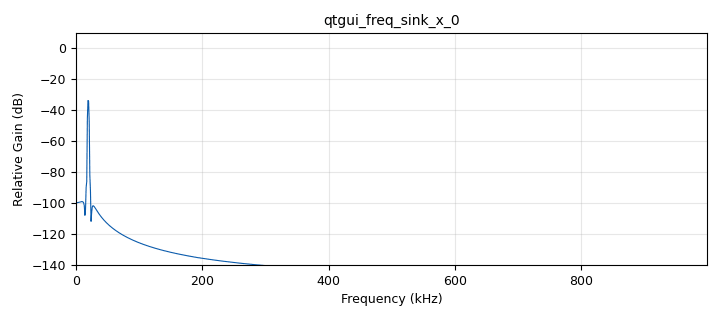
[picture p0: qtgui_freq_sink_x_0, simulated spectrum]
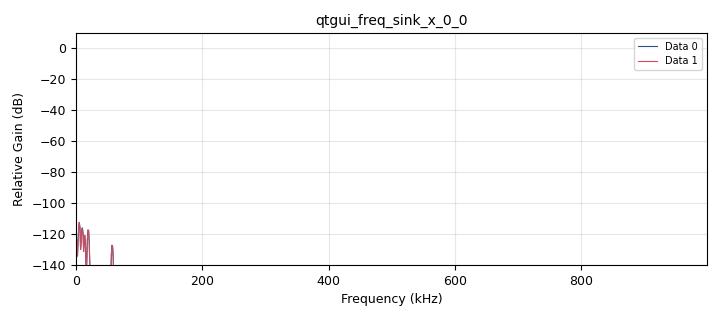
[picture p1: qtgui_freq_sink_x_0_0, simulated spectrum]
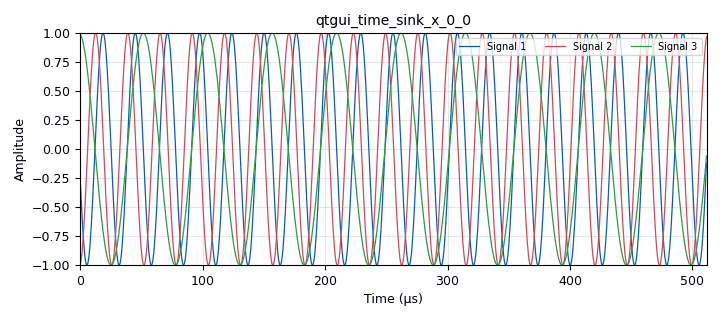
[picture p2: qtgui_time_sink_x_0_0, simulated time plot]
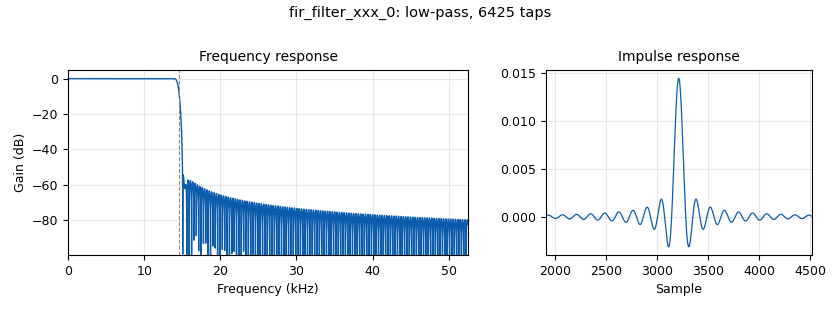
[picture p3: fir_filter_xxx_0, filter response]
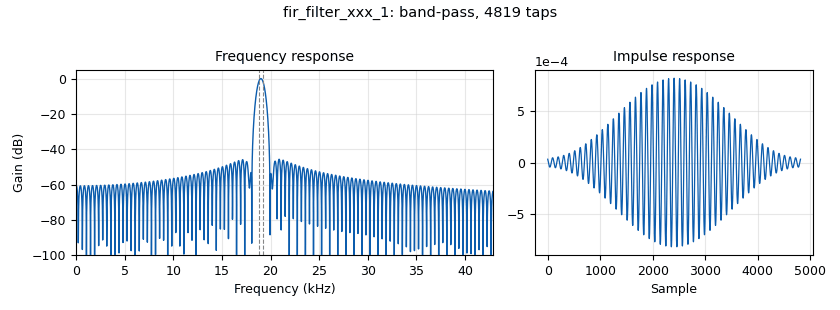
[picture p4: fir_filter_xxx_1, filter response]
options:
  parameters:
    author: Bauti
    generate_options: qt_gui
    id: default
    output_language: python
    title: Not titled yet
  states: {}

blocks:
- name: L_amp
  id: variable_qtgui_range
  parameters:
    start: '0'
    step: '0.01'
    stop: '1'
    value: '0'
  states: {}
- name: frec_L
  id: variable_qtgui_range
  parameters:
    start: '0'
    step: '1'
    stop: 20e3
    value: '50'
  states: {}
- name: samp_rate
  id: variable
  parameters:
    value: 2e6
  states: {}
- name: variable_band_pass_filter_taps_0
  id: variable_band_pass_filter_taps
  parameters:
    gain: '1.0'
    high_cutoff_freq: 19.2e3
    low_cutoff_freq: 18.8e3
    samp_rate: samp_rate
    type: band_pass
    width: 1e3
    win: window.WIN_HAMMING
  states: {}
- name: variable_low_pass_filter_taps_0
  id: variable_low_pass_filter_taps
  parameters:
    cutoff_freq: '14500'
    gain: '1.0'
    samp_rate: samp_rate
    width: '750'
    win: window.WIN_HAMMING
  states: {}
- name: analog_const_source_x_0
  id: analog_const_source_x
  parameters:
    const: '0'
    type: float
  states: {}
- name: analog_pll_refout_cc_0
  id: analog_pll_refout_cc
  parameters:
    max_freq: 2 *np.pi* 19200 / samp_rate
    min_freq: 2 * np.pi* 18800 / samp_rate
    w: '0.0001'
  states: {}
- name: analog_sig_source_x_0
  id: analog_sig_source_x
  parameters:
    amp: L_amp
    comment: L
    freq: frec_L
    offset: '0'
    phase: '0'
    samp_rate: samp_rate
    type: float
    waveform: analog.GR_COS_WAVE
  states: {}
- name: analog_sig_source_x_1
  id: analog_sig_source_x
  parameters:
    amp: L_amp
    comment: R
    freq: '1000'
    offset: '0'
    phase: '0'
    samp_rate: samp_rate
    type: float
    waveform: analog.GR_COS_WAVE
  states: {}
- name: analog_sig_source_x_2
  id: analog_sig_source_x
  parameters:
    amp: '1'
    comment: Pilot
    freq: 19e3
    offset: '0'
    phase: '0'
    samp_rate: samp_rate
    type: complex
    waveform: analog.GR_SIN_WAVE
  states: {}
- name: blocks_add_xx_0
  id: blocks_add_xx
  parameters:
    comment: L+R
    type: float
  states: {}
- name: blocks_add_xx_1
  id: blocks_add_xx
  parameters:
    num_inputs: '3'
    type: float
  states: {}
- name: blocks_add_xx_2
  id: blocks_add_xx
  parameters:
    comment: 2L
    type: float
  states: {}
- name: blocks_complex_to_imag_0
  id: blocks_complex_to_imag
  parameters: {}
  states: {}
- name: blocks_complex_to_imag_1
  id: blocks_complex_to_imag
  parameters: {}
  states: {}
- name: blocks_complex_to_imag_2
  id: blocks_complex_to_imag
  parameters: {}
  states: {}
- name: blocks_delay_0
  id: blocks_delay
  parameters:
    comment: (len(variable_low_pass_filter_taps_0)-1)/2
    delay: int((len(variable_band_pass_filter_taps_0)-1)/2)
    type: float
  states: {}
- name: blocks_float_to_complex_0
  id: blocks_float_to_complex
  parameters: {}
  states: {}
- name: blocks_multiply_const_vxx_0
  id: blocks_multiply_const_vxx
  parameters:
    const: '0.1'
    type: float
  states: {}
- name: blocks_multiply_const_vxx_1
  id: blocks_multiply_const_vxx
  parameters:
    comment: Devuelvo la energia
    const: '2'
    type: float
  states: {}
- name: blocks_multiply_xx_0
  id: blocks_multiply_xx
  parameters:
    type: complex
  states: {}
- name: blocks_multiply_xx_1
  id: blocks_multiply_xx
  parameters:
    type: float
  states: {}
- name: blocks_multiply_xx_2
  id: blocks_multiply_xx
  parameters:
    type: complex
  states: {}
- name: blocks_multiply_xx_2_0
  id: blocks_multiply_xx
  parameters:
    type: float
  states: {}
- name: blocks_sub_xx_0
  id: blocks_sub_xx
  parameters:
    comment: L-R
    type: float
  states: {}
- name: blocks_sub_xx_1
  id: blocks_sub_xx
  parameters:
    comment: 2R
    type: float
  states: {}
- name: blocks_throttle2_1
  id: blocks_throttle2
  parameters:
    samples_per_second: samp_rate
    type: complex
  states: {}
- name: fir_filter_xxx_0
  id: fir_filter_xxx
  parameters:
    comment: L-R
    decim: '1'
    taps: variable_low_pass_filter_taps_0
    type: fff
  states: {}
- name: fir_filter_xxx_0_0
  id: fir_filter_xxx
  parameters:
    comment: L+R
    decim: '1'
    taps: variable_low_pass_filter_taps_0
    type: fff
  states: {}
- name: fir_filter_xxx_1
  id: fir_filter_xxx
  parameters:
    decim: '1'
    taps: variable_band_pass_filter_taps_0
    type: fff
  states: {}
- name: import_0
  id: import
  parameters:
    imports: import numpy as np
  states: {}
- name: qtgui_freq_sink_x_0
  id: qtgui_freq_sink_x
  parameters:
    bw: samp_rate
    fc: '0'
    fftsize: '2048'
    freqhalf: 'False'
    type: float
    wintype: window.WIN_KAISER
  states: {}
- name: qtgui_freq_sink_x_0_0
  id: qtgui_freq_sink_x
  parameters:
    bw: samp_rate
    fc: '0'
    fftsize: '2048'
    freqhalf: 'False'
    nconnections: '2'
    type: float
  states: {}
- name: qtgui_time_sink_x_0
  id: qtgui_time_sink_x
  parameters:
    size: '1024'
    srate: samp_rate
    type: float
  states: {state: disabled}
- name: qtgui_time_sink_x_0_0
  id: qtgui_time_sink_x
  parameters:
    nconnections: '3'
    size: '1024'
    srate: samp_rate
    type: float
  states: {}
- name: virtual_sink_0
  id: virtual_sink
  parameters:
    stream_id: MPX
  states: {}
- name: virtual_source_0
  id: virtual_source
  parameters:
    stream_id: MPX
  states: {}

connections:
- [analog_const_source_x_0, '0', blocks_float_to_complex_0, '0']
- [analog_pll_refout_cc_0, '0', blocks_multiply_xx_2, '0']
- [analog_pll_refout_cc_0, '0', blocks_multiply_xx_2, '1']
- [analog_sig_source_x_0, '0', blocks_add_xx_0, '1']
- [analog_sig_source_x_0, '0', blocks_sub_xx_0, '1']
- [analog_sig_source_x_1, '0', blocks_add_xx_0, '0']
- [analog_sig_source_x_1, '0', blocks_sub_xx_0, '0']
- [analog_sig_source_x_2, '0', blocks_throttle2_1, '0']
- [blocks_add_xx_0, '0', blocks_add_xx_1, '1']
- [blocks_add_xx_1, '0', qtgui_freq_sink_x_0, '0']
- [blocks_add_xx_1, '0', qtgui_time_sink_x_0, '0']
- [blocks_add_xx_1, '0', virtual_sink_0, '0']
- [blocks_add_xx_2, '0', qtgui_freq_sink_x_0_0, '1']
- [blocks_complex_to_imag_0, '0', blocks_multiply_xx_1, '1']
- [blocks_complex_to_imag_0, '0', qtgui_time_sink_x_0_0, '0']
- [blocks_complex_to_imag_1, '0', blocks_multiply_const_vxx_0, '0']
- [blocks_complex_to_imag_1, '0', qtgui_time_sink_x_0_0, '2']
- [blocks_complex_to_imag_2, '0', blocks_multiply_xx_2_0, '0']
- [blocks_complex_to_imag_2, '0', qtgui_time_sink_x_0_0, '1']
- [blocks_delay_0, '0', blocks_multiply_xx_2_0, '1']
- [blocks_delay_0, '0', fir_filter_xxx_0_0, '0']
- [blocks_float_to_complex_0, '0', analog_pll_refout_cc_0, '0']
- [blocks_multiply_const_vxx_0, '0', blocks_add_xx_1, '2']
- [blocks_multiply_const_vxx_1, '0', fir_filter_xxx_0, '0']
- [blocks_multiply_xx_0, '0', blocks_complex_to_imag_0, '0']
- [blocks_multiply_xx_1, '0', blocks_add_xx_1, '0']
- [blocks_multiply_xx_2, '0', blocks_complex_to_imag_2, '0']
- [blocks_multiply_xx_2_0, '0', blocks_multiply_const_vxx_1, '0']
- [blocks_sub_xx_0, '0', blocks_multiply_xx_1, '0']
- [blocks_sub_xx_1, '0', qtgui_freq_sink_x_0_0, '0']
- [blocks_throttle2_1, '0', blocks_complex_to_imag_1, '0']
- [blocks_throttle2_1, '0', blocks_multiply_xx_0, '0']
- [blocks_throttle2_1, '0', blocks_multiply_xx_0, '1']
- [fir_filter_xxx_0, '0', blocks_add_xx_2, '0']
- [fir_filter_xxx_0, '0', blocks_sub_xx_1, '0']
- [fir_filter_xxx_0_0, '0', blocks_add_xx_2, '1']
- [fir_filter_xxx_0_0, '0', blocks_sub_xx_1, '1']
- [fir_filter_xxx_1, '0', blocks_float_to_complex_0, '1']
- [virtual_source_0, '0', blocks_delay_0, '0']
- [virtual_source_0, '0', fir_filter_xxx_1, '0']

metadata:
  file_format: 1
  grc_version: 3.10.12.0
